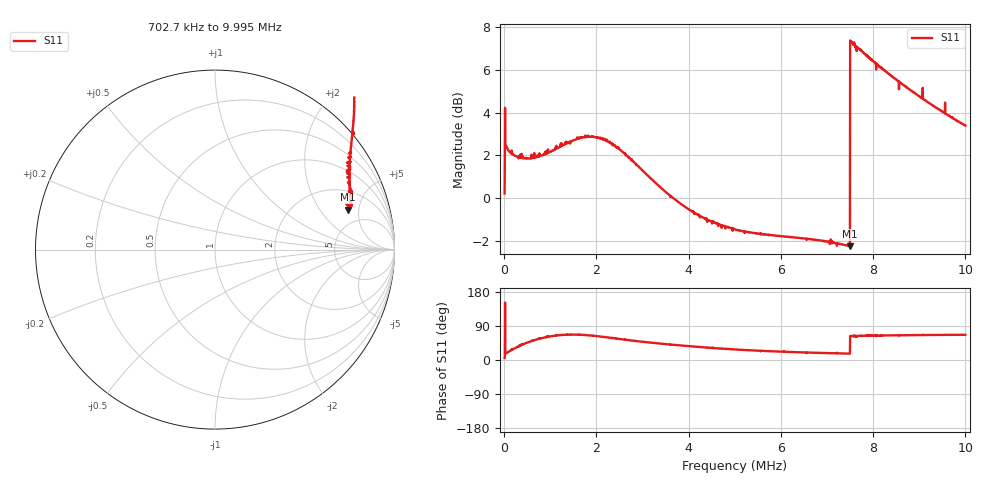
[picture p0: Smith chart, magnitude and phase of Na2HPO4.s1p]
# HZ S RI R 50
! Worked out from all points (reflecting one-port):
!   2020 points, 10 kHz to 10 MHz, reference 50 ohm
!   lowest |S11| = -2.2 dB at 7.496 MHz (marker M1), VSWR 7.81, Z = 172 + j190 ohm
!   phase of S11 starts at 5 deg and turns +61 deg over the sweep
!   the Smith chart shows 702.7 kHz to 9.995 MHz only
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10000  1.021 0.0951
64428  1.238 0.4314
69376  1.232 0.4391
74324  1.226 0.4469
212868  1.093 0.6278
390996  0.9326 0.8416
603760  0.7928 0.966
811576  0.6746 1.062
1083716  0.5726 1.164
1261844  0.5385 1.213
1558724  0.5376 1.262
1865500  0.5929 1.259
2152484  0.6655 1.199
2508740  0.7387 1.068
3181668  0.7749 0.7965
3760584  0.7624 0.6199
4344448  0.7519 0.493
5007480  0.7484 0.3929
6254376  0.7571 0.2901
7446844  0.7414 0.2258
7496324  0.7401 0.223
7506220  1.048 2.082
7550752  1.032 2.062
7654660  1.003 2.018
7902060  0.9179 1.928
8114824  0.8925 1.833
8753116  0.7486 1.642
1.000001e7  0.5869 1.356
